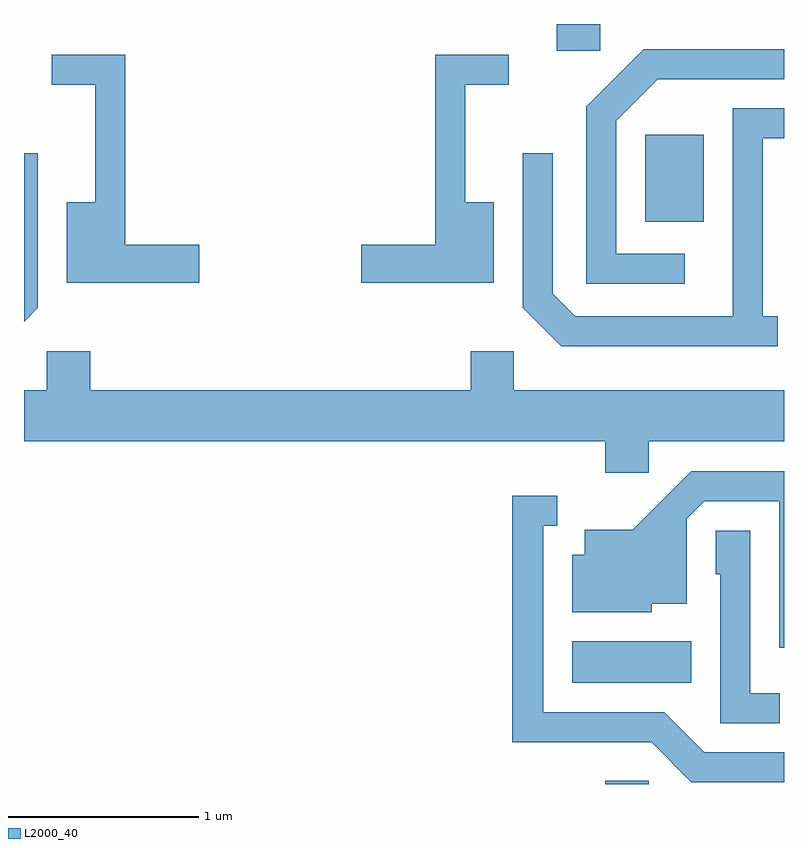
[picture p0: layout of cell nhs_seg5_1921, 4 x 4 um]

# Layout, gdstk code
import gdstk
lib = gdstk.Library(unit=1e-6, precision=1e-09)
def R(c, l, rs):  # rectangles x0, y0, x1, y1
    for r in rs: c.add(gdstk.rectangle(r[:2], r[2:], *l))
def P(c, l, *ps):  # polygons
    for p in ps: c.add(gdstk.Polygon(p, *l))
L2000_40 = (2000, 40)

nhs_seg5_1921 = lib.new_cell('nhs_seg5_1921')
R(nhs_seg5_1921, L2000_40, [(244.671,1486.072,244.899,1486.089), (244.496,1486.606,245.124,1486.824), (244.881,1489.031,245.189,1489.489), (244.416,1489.931,244.644,1490.072)])
P(nhs_seg5_1921, L2000_40, [(245.088,1488.864),(244.729,1488.864),(244.729,1489.564),(244.947,1489.781),(245.611,1489.781),(245.611,1489.939),(244.874,1489.939),(244.571,1489.637),(244.571,1488.706),(245.088,1488.706)],
  [(242.534,1488.909),(242.144,1488.909),(242.144,1489.909),(241.758,1489.909),(241.758,1489.751),(241.986,1489.751),(241.986,1489.134),(241.836,1489.134),(241.836,1488.711),(242.534,1488.711)],
  [(244.084,1489.134),(243.934,1489.134),(243.934,1489.751),(244.163,1489.751),(244.163,1489.909),(243.776,1489.909),(243.776,1488.909),(243.386,1488.909),(243.386,1488.711),(244.084,1488.711)],
  [(245.578,1488.534),(245.499,1488.534),(245.499,1489.471),(245.611,1489.471),(245.611,1489.629),(245.341,1489.629),(245.341,1488.534),(244.512,1488.534),(244.394,1488.652),(244.394,1489.393),(244.236,1489.393),(244.236,1488.579),(244.439,1488.376),(245.578,1488.376)],
  [(241.684,1488.579),(241.684,1489.393),(241.611,1489.393),(241.611,1488.506)],
  [(244.899,1487.876),(245.611,1487.876),(245.611,1488.144),(244.189,1488.144),(244.189,1488.349),(243.961,1488.349),(243.961,1488.144),(241.959,1488.144),(241.959,1488.349),(241.731,1488.349),(241.731,1488.144),(241.611,1488.144),(241.611,1487.876),(244.671,1487.876),(244.671,1487.711),(244.899,1487.711)],
  [(245.611,1487.719),(245.124,1487.719),(244.814,1487.409),(244.561,1487.409),(244.561,1487.279),(244.496,1487.279),(244.496,1486.976),(244.914,1486.976),(244.914,1487.021),(245.099,1487.021),(245.099,1487.469),(245.192,1487.561),(245.586,1487.561),(245.586,1486.788),(245.611,1486.788)],
  [(245.611,1486.239),(245.192,1486.239),(244.982,1486.449),(244.344,1486.449),(244.344,1487.431),(244.418,1487.431),(244.418,1487.589),(244.181,1487.589),(244.181,1486.291),(244.914,1486.291),(245.124,1486.081),(245.611,1486.081)],
  [(245.588,1486.549),(245.434,1486.549),(245.434,1487.404),(245.251,1487.404),(245.251,1487.176),(245.276,1487.176),(245.276,1486.391),(245.588,1486.391)])

lib.write_gds('nhs_seg5_1921.gds')
